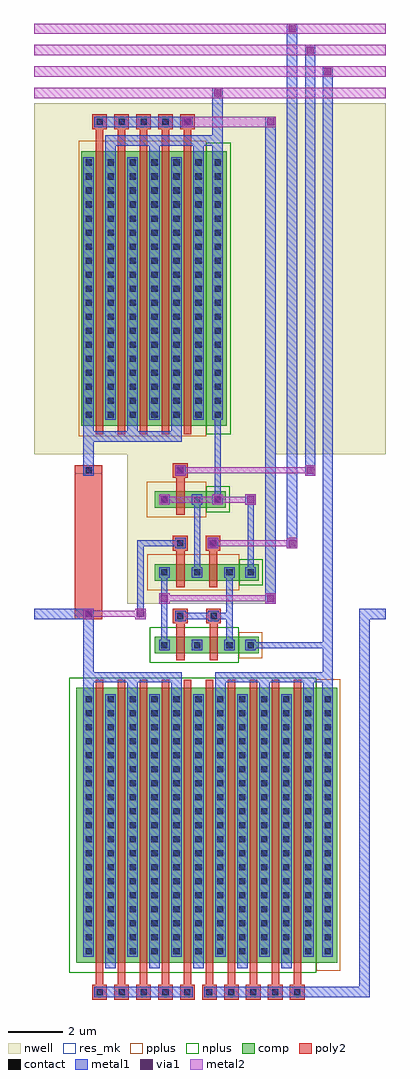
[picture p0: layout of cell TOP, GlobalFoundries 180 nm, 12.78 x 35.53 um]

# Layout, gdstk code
import gdstk
lib = gdstk.Library(unit=1e-6, precision=1e-09)
def R(c, l, rs):  # rectangles x0, y0, x1, y1
    for r in rs: c.add(gdstk.rectangle(r[:2], r[2:], *l))
def A(c, l, x, y, w, h, nx, ny, dx, dy):  # array of equal rectangles
    R(c, l, [(x+i*dx, y+j*dy, x+i*dx+w, y+j*dy+h) for i in range(nx) for j in range(ny)])
nwell = (21, 0)
comp = (22, 0)
poly2 = (30, 0)
pplus = (31, 0)
nplus = (32, 0)
contact = (33, 0)
metal1 = (34, 0)
via1 = (35, 0)
metal2 = (36, 0)
res_mk = (110, 5)

top = lib.new_cell('TOP')
R(top, nwell, [(6.17,3.28,11.59,8.72), (2.8,8.72,15.58,21.5)])
R(top, comp, [(4.32,-9.791,13.821,0.21), (7.17,1.47,10.97,2.07), (7.17,4.12,10.97,4.72), (7.17,6.77,9.77,7.37), (4.5,9.75,9.801,19.75)])
A(top, poly2, 4.9, -11.131, 0.54, 0.54, 10, 1, 0.8, 0)
A(top, poly2, 5.03, -10.591, 0.28, 11.101, 10, 1, 0.8, 0)
A(top, poly2, 7.97, 1.22, 0.3, 1.34, 1, 3, 0, 2.65)
A(top, poly2, 7.84, 2.56, 0.54, 0.54, 1, 3, 0, 2.65)
A(top, poly2, 5.03, 9.45, 0.28, 11.1, 5, 1, 0.8, 0)
A(top, poly2, 4.9, 20.55, 0.54, 0.54, 5, 1, 0.8, 0)
R(top, poly2, [(9.18,1.22,9.48,2.56), (9.05,2.56,9.59,3.1), (4.27,2.72,5.27,8.32), (4.27,2.72,5.27,8.32), (9.16,3.87,9.46,5.21), (9.03,5.21,9.57,5.75)])
R(top, pplus, [(13.06,-10.091,13.94,0.52), (10.245,1.295,11.1,2.245), (6.9,3.77,10.25,5.07), (6.895,6.42,9.045,7.72), (4.41,9.375,9.061,20.125)])
R(top, nplus, [(4.06,-10.166,13.061,0.585), (6.995,1.12,10.245,2.42), (10.25,3.95,11.105,4.9), (9.045,6.6,9.9,7.55), (9.061,9.44,9.941,20.05)])
A(top, contact, 5.06, -10.971, 0.22, 0.22, 10, 1, 0.8, 0)
A(top, contact, 4.66, -9.491, 0.22, 0.22, 5, 5, 0.8, 0.51)
A(top, contact, 8.66, -9.491, 0.221, 0.22, 1, 5, 0, 0.51)
A(top, contact, 9.46, -9.491, 0.22, 0.22, 5, 5, 0.8, 0.51)
A(top, contact, 13.36, -9.491, 0.22, 0.22, 1, 5, 0, 0.51)
A(top, contact, 4.66, -6.941, 0.22, 0.221, 5, 1, 0.8, 0)
A(top, contact, 9.46, -6.941, 0.22, 0.221, 5, 1, 0.8, 0)
A(top, contact, 4.66, -6.43, 0.22, 0.22, 5, 13, 0.8, 0.51)
A(top, contact, 8.66, -6.43, 0.221, 0.22, 1, 13, 0, 0.51)
A(top, contact, 9.46, -6.43, 0.22, 0.22, 5, 13, 0.8, 0.51)
A(top, contact, 13.36, -6.43, 0.22, 0.22, 1, 13, 0, 0.51)
A(top, contact, 7.42, 1.66, 0.22, 0.22, 1, 3, 0, 2.65)
A(top, contact, 8.61, 1.66, 0.22, 0.22, 1, 3, 0, 2.65)
A(top, contact, 8, 2.72, 0.22, 0.22, 1, 3, 0, 2.65)
A(top, contact, 4.66, 10.05, 0.22, 0.22, 5, 19, 0.8, 0.51)
A(top, contact, 8.66, 10.05, 0.221, 0.22, 1, 19, 0, 0.51)
A(top, contact, 9.36, 10.05, 0.22, 0.22, 1, 19, 0, 0.51)
A(top, contact, 5.06, 20.71, 0.22, 0.22, 5, 1, 0.8, 0)
R(top, contact, [(8.66,-6.941,8.881,-6.72), (13.36,-6.941,13.58,-6.72), (9.79,1.66,10.01,1.88), (10.56,1.66,10.78,1.88), (9.21,2.72,9.43,2.94), (4.66,2.8,4.88,3.02), (4.66,2.8,4.88,3.02), (9.79,4.31,10.01,4.53), (10.56,4.31,10.78,4.53), (9.19,5.37,9.41,5.59), (9.36,6.96,9.58,7.18), (4.66,8.02,4.88,8.24), (4.66,8.02,4.88,8.24)])
A(top, metal1, 4.98, -11.051, 0.38, 0.38, 10, 1, 0.8, 0)
A(top, metal1, 4.58, -9.571, 0.38, 9.561, 5, 1, 0.8, 0)
A(top, metal1, 9.38, -9.571, 0.38, 9.561, 5, 1, 0.8, 0)
A(top, metal1, 6.18, -0.01, 0.38, 0.42, 5, 1, 1.6, 0)
A(top, metal1, 7.34, 1.58, 0.38, 0.38, 1, 3, 0, 2.65)
A(top, metal1, 8.53, 1.58, 0.38, 0.38, 1, 3, 0, 2.65)
A(top, metal1, 10.48, 1.58, 0.38, 0.38, 1, 3, 0, 2.65)
A(top, metal1, 7.92, 2.64, 0.38, 0.38, 1, 3, 0, 2.65)
A(top, metal1, 4.58, 9.97, 0.38, 9.56, 5, 1, 0.8, 0)
A(top, metal1, 4.98, 20.63, 0.38, 0.38, 5, 1, 0.8, 0)
R(top, metal1, [(4.98,-11.051,8.56,-10.671), (8.98,-11.051,12.56,-10.671), (12.18,-11.051,15,-10.671), (14.62,-11.051,15,3.1), (5.38,-9.991,5.76,-9.571), (6.98,-9.991,7.36,-9.571), (8.58,-9.991,8.961,-9.571), (10.18,-9.991,10.56,-9.571), (11.78,-9.991,12.16,-9.571), (8.58,-9.571,8.961,-0.01), (13.28,-9.571,13.66,-0.01), (4.58,-1.875,4.96,3.1), (13.28,-0.01,13.66,0.41), (4.58,0.41,8.16,0.79), (9.38,0.41,13.66,0.79), (13.29,0.41,13.66,22.84), (9.71,1.58,10.09,1.96), (10.56,1.66,13.66,1.88), (7.42,1.96,7.64,4.23), (9.79,1.96,10.01,4.23), (9.13,2.64,9.51,3.02), (2.8,2.72,4.96,3.1), (4.58,2.72,4.96,3.1), (4.58,2.72,4.96,3.1), (8.3,2.72,9.13,2.94), (9.51,2.72,10.01,2.94), (14.62,2.72,15.58,3.1), (6.55,2.8,6.77,5.59), (11.21,3.28,11.59,3.66), (11.21,3.28,11.59,21.01), (9.71,4.23,10.09,4.61), (8.61,4.61,8.83,6.88), (10.56,4.61,10.78,6.88), (9.11,5.29,9.49,5.67), (11.99,5.29,12.37,5.67), (11.99,5.29,12.37,24.4), (6.55,5.37,8.22,5.59), (9.28,6.88,9.66,7.26), (9.36,6.96,9.58,10.27), (4.58,7.94,4.96,8.32), (4.58,7.94,4.96,8.32), (4.58,7.94,4.96,9.97), (12.65,7.94,13.03,23.62), (4.58,9.17,8.16,9.55), (6.18,9.55,6.56,9.97), (7.78,9.55,8.16,9.97), (8.58,9.97,8.961,19.53), (9.28,9.97,9.66,19.53), (5.38,19.53,5.76,19.95), (6.98,19.53,7.36,19.95), (8.58,19.53,8.961,19.95), (9.28,19.53,9.66,19.95), (5.38,19.95,9.66,20.33), (9.28,19.95,9.66,22.06), (4.98,20.63,8.56,21.01)])
R(top, via1, [(4.64,2.78,4.9,3.04), (4.64,2.78,4.9,3.04), (4.64,2.78,4.9,3.04), (6.53,2.78,6.79,3.04), (7.4,3.34,7.66,3.6), (11.27,3.34,11.53,3.6), (9.17,5.35,9.43,5.61), (12.05,5.35,12.31,5.61), (7.4,6.94,7.66,7.2), (9.34,6.94,9.6,7.2), (10.54,6.94,10.8,7.2), (7.98,8,8.24,8.26), (12.71,8,12.97,8.26), (8.24,20.69,8.5,20.95), (11.27,20.69,11.53,20.95), (9.34,21.74,9.6,22), (13.35,22.52,13.61,22.78), (12.71,23.3,12.97,23.56), (12.05,24.08,12.31,24.34)])
A(top, metal2, 2.8, 21.68, 12.78, 0.38, 1, 4, 0, 0.78)
R(top, metal2, [(4.58,2.72,4.96,3.1), (6.47,2.72,6.85,3.1), (4.66,2.8,6.77,3.02), (7.34,3.28,7.72,3.66), (11.21,3.28,11.59,3.66), (7.42,3.36,11.51,3.58), (9.11,5.29,9.49,5.67), (11.99,5.29,12.37,5.67), (9.19,5.37,12.29,5.59), (7.34,6.88,7.72,7.26), (9.28,6.88,9.66,7.26), (10.48,6.88,10.86,7.26), (7.42,6.96,10.78,7.18), (7.92,7.94,8.3,8.32), (12.65,7.94,13.03,8.32), (8,8.02,12.95,8.24), (8.18,20.63,11.59,21.01)])
R(top, res_mk, [(4.27,3.02,5.27,8.02), (4.27,3.02,5.27,8.02)])

lib.write_gds('TOP.gds')
